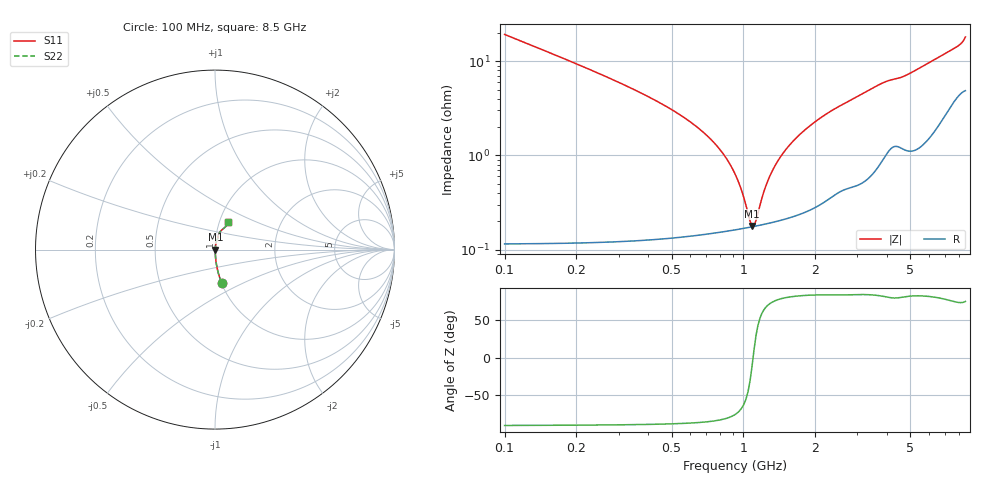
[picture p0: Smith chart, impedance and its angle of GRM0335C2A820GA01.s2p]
!Murata Part Number: GRM0335C2A820GA01
!These Parameters are Measured in Series Mode Connection
!Data Generated on Mar 30, 2021
!  o--ll--o
!Port1  Port2
!  o------o
!Operation Temp=25[degC], DC Bias Voltage=0[V]
!Freq. Start=100[MHz] Stop=9[GHz] 401[Steps]
# Hz S RI R 50
!Freq.(Hz) S11(Real) S11(Imag) S21(Real) S21(Imag) S12(Real) S12(Imag) S22(Real) S22(Imag)
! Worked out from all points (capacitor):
!   401 points, 100 MHz to 8.5 GHz, reference 50 ohm
!   read as one part in series: C = 82 pF near 142 MHz
!   lowest |Z| = 178 mohm at 1.087 GHz (marker M1)
!   series resonance near 1.097 GHz, so ESL is about 260 pH
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1e8  0.0367 -0.1852  0.9633 0.1852  0.9633 0.1852  0.0367 -0.1852
2.05e8  0.00942 -0.0904  0.9906 0.0904  0.9906 0.0904  0.00942 -0.0904
3.1e8  0.00451 -0.0572  0.9955 0.0572  0.9955 0.0572  0.00451 -0.0572
7.09e8  0.00171 -0.0158  0.9983 0.0158  0.9983 0.0158  0.00171 -0.0158
8.35e8  0.00165 -0.00972  0.9984 0.00972  0.9984 0.00972  0.00165 -0.00972
9.4e8  0.00166 -0.00546  0.9983 0.00546  0.9983 0.00546  0.00166 -0.00546
1.045e9  0.00171 -0.00172  0.9983 0.00172  0.9983 0.00172  0.00171 -0.00172
1.087e9  0.00174 -0.000335  0.9983 0.000335  0.9983 0.000335  0.00174 -0.000335
1.129e9  0.00178 0.000996  0.9982 -0.000996  0.9982 -0.000996  0.00178 0.000996
1.234e9  0.00188 0.00413  0.9981 -0.00413  0.9981 -0.00413  0.00188 0.00413
1.297e9  0.00195 0.0059  0.998 -0.0059  0.998 -0.0059  0.00195 0.0059
1.381e9  0.00206 0.00815  0.9979 -0.00815  0.9979 -0.00815  0.00206 0.00815
1.507e9  0.00224 0.0114  0.9978 -0.0114  0.9978 -0.0114  0.00224 0.0114
1.738e9  0.00266 0.0168  0.9973 -0.0168  0.9973 -0.0168  0.00266 0.0168
2.053e9  0.00346 0.0237  0.9965 -0.0237  0.9965 -0.0237  0.00346 0.0237
2.914e9  0.00625 0.0399  0.9938 -0.0399  0.9938 -0.0399  0.00625 0.0399
3.733e9  0.0111 0.0554  0.9889 -0.0554  0.9889 -0.0554  0.0111 0.0554
4.3e9  0.0162 0.0617  0.9838 -0.0617  0.9838 -0.0617  0.0162 0.0617
5.707e9  0.0207 0.0861  0.9793 -0.0861  0.9793 -0.0861  0.0207 0.0861
7.114e9  0.0408 0.1123  0.9592 -0.1123  0.9592 -0.1123  0.0408 0.1123
8.08e9  0.0607 0.13  0.9393 -0.13  0.9393 -0.13  0.0607 0.13
8.5e9  0.0721 0.1544  0.9279 -0.1544  0.9279 -0.1544  0.0721 0.1544
